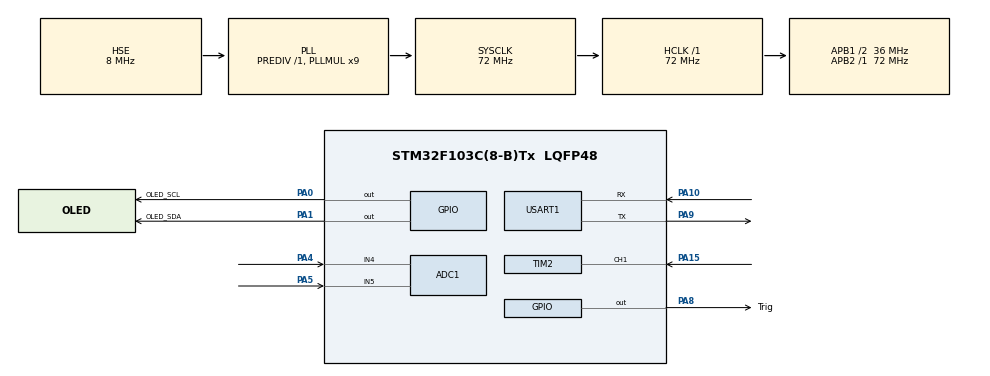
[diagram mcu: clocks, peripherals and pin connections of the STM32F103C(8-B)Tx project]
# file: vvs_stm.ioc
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ADC1.Channel-1\#ChannelRegularConversion=ADC_CHANNEL_4
ADC1.Channel-2\#ChannelRegularConversion=ADC_CHANNEL_5
ADC1.DiscontinuousConvMode=ENABLE
ADC1.NbrOfConversion=2
ADC1.NbrOfConversionFlag=1
ADC1.Rank-1\#ChannelRegularConversion=1
ADC1.Rank-2\#ChannelRegularConversion=2
ADC1.SamplingTime-1\#ChannelRegularConversion=ADC_SAMPLETIME_55CYCLES_5
ADC1.SamplingTime-2\#ChannelRegularConversion=ADC_SAMPLETIME_55CYCLES_5
ADC1.master=1
Mcu.Family=STM32F1
Mcu.Name=STM32F103C(8-B)Tx
Mcu.Package=LQFP48
NVIC.PriorityGroup=NVIC_PRIORITYGROUP_4
NVIC.TIM2_IRQn=true\:0\:0\:false\:false\:true\:true\:true\:true
PA0-WKUP.GPIO_Label=OLED_SCL
PA0-WKUP.GPIO_ModeDefaultOutputPP=GPIO_MODE_OUTPUT_PP
PA0-WKUP.GPIO_PuPd=GPIO_PULLUP
PA0-WKUP.GPIO_Speed=GPIO_SPEED_FREQ_HIGH
PA0-WKUP.PinState=GPIO_PIN_SET
PA0-WKUP.Signal=GPIO_Output
PA1.GPIO_Label=OLED_SDA
PA1.GPIO_ModeDefaultOutputPP=GPIO_MODE_OUTPUT_PP
PA1.GPIO_PuPd=GPIO_PULLUP
PA1.GPIO_Speed=GPIO_SPEED_FREQ_HIGH
PA1.Signal=GPIO_Output
PA10.Mode=Asynchronous
PA10.Signal=USART1_RX
PA15.Signal=S_TIM2_CH1_ETR
PA4.Signal=ADCx_IN4
PA5.Signal=ADCx_IN5
PA8.GPIO_Label=Trig
PA8.GPIO_PuPd=GPIO_PULLUP
PA8.GPIO_Speed=GPIO_SPEED_FREQ_HIGH
PA8.Signal=GPIO_Output
PA9.Mode=Asynchronous
PA9.Signal=USART1_TX
PD0-OSC_IN.Mode=HSE-External-Oscillator
PD0-OSC_IN.Signal=RCC_OSC_IN
PD1-OSC_OUT.Mode=HSE-External-Oscillator
PD1-OSC_OUT.Signal=RCC_OSC_OUT
ProjectManager.HeapSize=0x200
ProjectManager.StackSize=0x400
ProjectManager.TargetToolchain=MDK-ARM V5.32
RCC.ADCPresc=RCC_ADCPCLK2_DIV6
RCC.AHBFreq_Value=72000000
RCC.APB1CLKDivider=RCC_HCLK_DIV2
RCC.APB1Freq_Value=36000000
RCC.APB1TimFreq_Value=72000000
RCC.APB2Freq_Value=72000000
RCC.APB2TimFreq_Value=72000000
RCC.HCLKFreq_Value=72000000
RCC.PLLMUL=RCC_PLL_MUL9
RCC.PLLSourceVirtual=RCC_PLLSOURCE_HSE
RCC.SYSCLKFreq_VALUE=72000000
RCC.SYSCLKSource=RCC_SYSCLKSOURCE_PLLCLK
RCC.USBFreq_Value=72000000
SH.ADCx_IN4.0=ADC1_IN4,IN4
SH.ADCx_IN5.0=ADC1_IN5,IN5
SH.S_TIM2_CH1_ETR.0=TIM2_CH1,Input_Capture1_from_TI1
TIM2.Channel-Input_Capture1_from_TI1=TIM_CHANNEL_1
USART1.VirtualMode=VM_ASYNC
VP_SYS_VS_ND.Mode=No_Debug
VP_TIM2_VS_ClockSourceINT.Mode=Internal
board=custom

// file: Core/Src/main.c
/* USER CODE BEGIN Header */
/**
  ******************************************************************************
  * @file           : main.c
  * @brief          : Main program body
  ******************************************************************************
  * @attention
  *
  * Copyright (c) 2025 STMicroelectronics.
  * All rights reserved.
  *
  * This software is licensed under terms that can be found in the LICENSE file
  * in the root directory of this software component.
  * If no LICENSE file comes with this software, it is provided AS-IS.
  *
  ******************************************************************************
  */
/* USER CODE END Header */
#include "main.h"
#include "adc.h"
#include "tim.h"
#include "usart.h"
#include "gpio.h"

/* USER CODE BEGIN Includes */
#include "oled.h"
#include "stdio.h"
#include "sr04.h"
/* USER CODE END Includes */

void SystemClock_Config(void);

int main(void)
{

  /* USER CODE BEGIN 1 */
  float adcy,adcy1;
	uint16_t adcx,adcx1 = 0;
	char data_light[4]={0},data_zaoyin[10]={0};
	uint8_t test_uart[5]={0x11,0x22,0x33,0x44,0x55};
  /* USER CODE END 1 */

  /* MCU Configuration--------------------------------------------------------*/

  /* Reset of all peripherals, Initializes the Flash interface and the Systick. */
  HAL_Init();

  /* Configure the system clock */
  SystemClock_Config();

  /* Initialize all configured peripherals */
  MX_GPIO_Init();
  MX_ADC1_Init();
  MX_TIM2_Init();
  MX_USART1_UART_Init();
  /* USER CODE BEGIN 2 */
	OLED_Init();
		OLED_ColorTurn(0);//
  OLED_DisplayTurn(1);//
	HAL_ADCEx_Calibration_Start(&hadc1);
  /* USER CODE END 2 */

  /* Infinite loop */
  while (1)
  {

    /* USER CODE BEGIN 3 */
		HAL_ADC_Start(&hadc1);
		HAL_ADC_PollForConversion(&hadc1,10);
		adcx = (uint16_t)HAL_ADC_GetValue(&hadc1);
		adcy = (float)adcx*3.3/4096;
		sprintf(data_light,"light:%.3f",adcy);
		OLED_ShowString(0,0,(uint8_t*)data_light,16,1);
		OLED_Refresh();

		if(adcy>2.0)
		{
				HAL_UART_Transmit(&huart1,(uint8_t*)"too dark",8,0xffff);
		}

				HAL_ADC_Start(&hadc1);
		HAL_ADC_PollForConversion(&hadc1,10);
		adcx1 = (uint16_t)HAL_ADC_GetValue(&hadc1);
		adcy1 = (float)adcx1*3.3/4096;
		sprintf(data_light,"noise:%.3f",adcy1);
		OLED_ShowString(0,20,(uint8_t*)data_light,16,1);
		OLED_Refresh();

		if(adcy>2.0)
		{
				HAL_UART_Transmit(&huart1,(uint8_t*)"too noise",8,0xffff);
		}

				sr04_getdata();

		HAL_Delay(1000);
  }
  /* USER CODE END 3 */
}

void SystemClock_Config(void)
{
  RCC_OscInitTypeDef RCC_OscInitStruct = {0};
  RCC_ClkInitTypeDef RCC_ClkInitStruct = {0};
  RCC_PeriphCLKInitTypeDef PeriphClkInit = {0};

  /** Initializes the RCC Oscillators according to the specified parameters
  * in the RCC_OscInitTypeDef structure.
  */
  RCC_OscInitStruct.OscillatorType = RCC_OSCILLATORTYPE_HSE;
  RCC_OscInitStruct.HSEState = RCC_HSE_ON;
  RCC_OscInitStruct.HSEPredivValue = RCC_HSE_PREDIV_DIV1;
  RCC_OscInitStruct.HSIState = RCC_HSI_ON;
  RCC_OscInitStruct.PLL.PLLState = RCC_PLL_ON;
  RCC_OscInitStruct.PLL.PLLSource = RCC_PLLSOURCE_HSE;
  RCC_OscInitStruct.PLL.PLLMUL = RCC_PLL_MUL9;
  if (HAL_RCC_OscConfig(&RCC_OscInitStruct) != HAL_OK)
  {
    Error_Handler();
  }

  /** Initializes the CPU, AHB and APB buses clocks
  */
  RCC_ClkInitStruct.ClockType = RCC_CLOCKTYPE_HCLK|RCC_CLOCKTYPE_SYSCLK
                              |RCC_CLOCKTYPE_PCLK1|RCC_CLOCKTYPE_PCLK2;
  RCC_ClkInitStruct.SYSCLKSource = RCC_SYSCLKSOURCE_PLLCLK;
  RCC_ClkInitStruct.AHBCLKDivider = RCC_SYSCLK_DIV1;
  RCC_ClkInitStruct.APB1CLKDivider = RCC_HCLK_DIV2;
  RCC_ClkInitStruct.APB2CLKDivider = RCC_HCLK_DIV1;

  if (HAL_RCC_ClockConfig(&RCC_ClkInitStruct, FLASH_LATENCY_2) != HAL_OK)
  {
    Error_Handler();
  }
  PeriphClkInit.PeriphClockSelection = RCC_PERIPHCLK_ADC;
  PeriphClkInit.AdcClockSelection = RCC_ADCPCLK2_DIV6;
  if (HAL_RCCEx_PeriphCLKConfig(&PeriphClkInit) != HAL_OK)
  {
    Error_Handler();
  }
}

void Error_Handler(void)
{
  __disable_irq();
  while (1)
  {
  }
}
